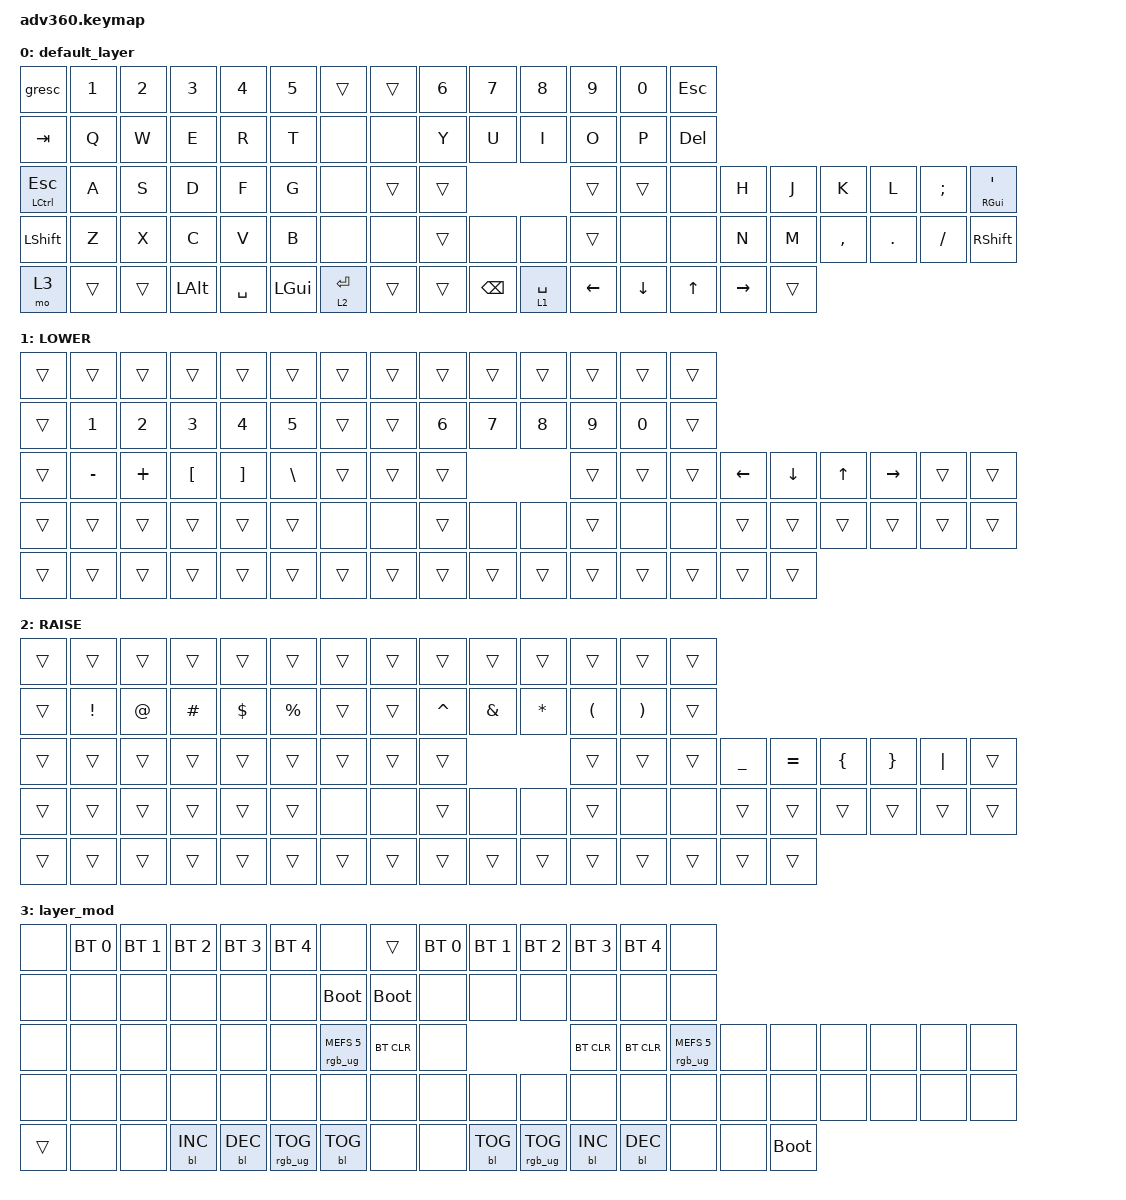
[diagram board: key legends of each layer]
/*
 * Copyright (c) 2020 The ZMK Contributors
 *
 * SPDX-License-Identifier: MIT
 */
/* THIS FILE WAS GENERATED!
 *
 * This file was generated automatically. You may or may not want to
 * edit it directly.
 */

#include <behaviors.dtsi>
#include <dt-bindings/zmk/keys.h>
#include <dt-bindings/zmk/bt.h>
#include <dt-bindings/zmk/rgb.h>
#include <dt-bindings/zmk/backlight.h>

/ {
    behaviors {
        #include "macros.dtsi"

        hm: homerow_mods {
            compatible = "zmk,behavior-hold-tap";
            label = "HOMEROW_MODS";
            #binding-cells = <2>;
            tapping-term-ms = <200>;
            quick_tap_ms = <175>;
            flavor = "tap-preferred";
            bindings =
                <&kp>,
                <&kp>;
        };
    };

    keymap {
        compatible = "zmk,keymap";

        default_layer {
            bindings = <
        &gresc  &kp N1  &kp N2    &kp N3     &kp N4        &kp N5       &trans  &trans  &kp N6         &kp N7       &kp N8    &kp N9    &kp N0     &kp ESC
       &kp TAB   &kp Q   &kp W     &kp E      &kp R         &kp T        &none   &none   &kp Y          &kp U        &kp I     &kp O     &kp P  &kp DELETE
 &mt LCTRL ESC   &kp A   &kp S     &kp D      &kp F         &kp G        &none  &trans  &trans                                &trans    &trans       &none      &kp H   &kp J      &kp K    &kp L  &kp SEMI  &mt RIGHT_GUI SINGLE_QUOTE
     &kp LSHFT   &kp Z   &kp X     &kp C      &kp V         &kp B        &none   &none  &trans          &none        &none    &trans     &none       &none      &kp N   &kp M  &kp COMMA  &kp DOT  &kp FSLH                   &kp RSHFT
         &mo 3  &trans  &trans  &kp LALT  &kp SPACE  &kp LEFT_GUI  &lt 2 ENTER  &trans  &trans  &kp BACKSPACE  &lt 1 SPACE  &kp LEFT  &kp DOWN      &kp UP  &kp RIGHT  &trans
            >;
        };

        LOWER {
            bindings = <
 &trans        &trans        &trans            &trans             &trans         &trans  &trans  &trans        &trans        &trans        &trans        &trans        &trans  &trans
 &trans  &kp NUMBER_1  &kp NUMBER_2      &kp NUMBER_3       &kp NUMBER_4   &kp NUMBER_5  &trans  &trans  &kp NUMBER_6  &kp NUMBER_7  &kp NUMBER_8  &kp NUMBER_9  &kp NUMBER_0  &trans
 &trans     &kp MINUS      &kp PLUS  &kp LEFT_BRACKET  &kp RIGHT_BRACKET  &kp BACKSLASH  &trans  &trans        &trans                                    &trans        &trans  &trans  &kp LEFT  &kp DOWN  &kp UP  &kp RIGHT  &trans  &trans
 &trans        &trans        &trans            &trans             &trans         &trans   &none   &none        &trans         &none         &none        &trans         &none   &none    &trans    &trans  &trans     &trans  &trans  &trans
 &trans        &trans        &trans            &trans             &trans         &trans  &trans  &trans        &trans        &trans        &trans        &trans        &trans  &trans    &trans    &trans
            >;
        };

        RAISE {
            bindings = <
 &trans           &trans       &trans     &trans      &trans       &trans  &trans  &trans     &trans         &trans        &trans                &trans                 &trans  &trans
 &trans  &kp EXCLAMATION  &kp AT_SIGN  &kp POUND  &kp DOLLAR  &kp PERCENT  &trans  &trans  &kp CARET  &kp AMPERSAND  &kp ASTERISK  &kp LEFT_PARENTHESIS  &kp RIGHT_PARENTHESIS  &trans
 &trans           &trans       &trans     &trans      &trans       &trans  &trans  &trans     &trans                                             &trans                 &trans  &trans  &kp UNDERSCORE  &kp EQUAL  &kp LEFT_BRACE  &kp RIGHT_BRACE  &kp PIPE  &trans
 &trans           &trans       &trans     &trans      &trans       &trans   &none   &none     &trans          &none         &none                &trans                  &none   &none          &trans     &trans          &trans           &trans    &trans  &trans
 &trans           &trans       &trans     &trans      &trans       &trans  &trans  &trans     &trans         &trans        &trans                &trans                 &trans  &trans          &trans     &trans
            >;
        };

        layer_mod {
            bindings = <
  &none  &bt BT_SEL 0  &bt BT_SEL 1  &bt BT_SEL 2  &bt BT_SEL 3     &bt BT_SEL 4                   &none       &trans  &bt BT_SEL 0  &bt BT_SEL 1     &bt BT_SEL 2  &bt BT_SEL 3  &bt BT_SEL 4                   &none
  &none         &none         &none         &none         &none            &none             &bootloader  &bootloader         &none         &none            &none         &none         &none                   &none
  &none         &none         &none         &none         &none            &none  &rgb_ug RGB_MEFS_CMD 5   &bt BT_CLR         &none                                   &bt BT_CLR    &bt BT_CLR  &rgb_ug RGB_MEFS_CMD 5   &none        &none   &none   &none   &none   &none
  &none         &none         &none         &none         &none            &none                   &none        &none         &none         &none            &none         &none         &none                   &none   &none        &none   &none   &none   &none   &none
 &trans         &none         &none    &bl BL_INC    &bl BL_DEC  &rgb_ug RGB_TOG              &bl BL_TOG        &none         &none    &bl BL_TOG  &rgb_ug RGB_TOG    &bl BL_INC    &bl BL_DEC                   &none   &none  &bootloader
            >;
        };
    };
};
